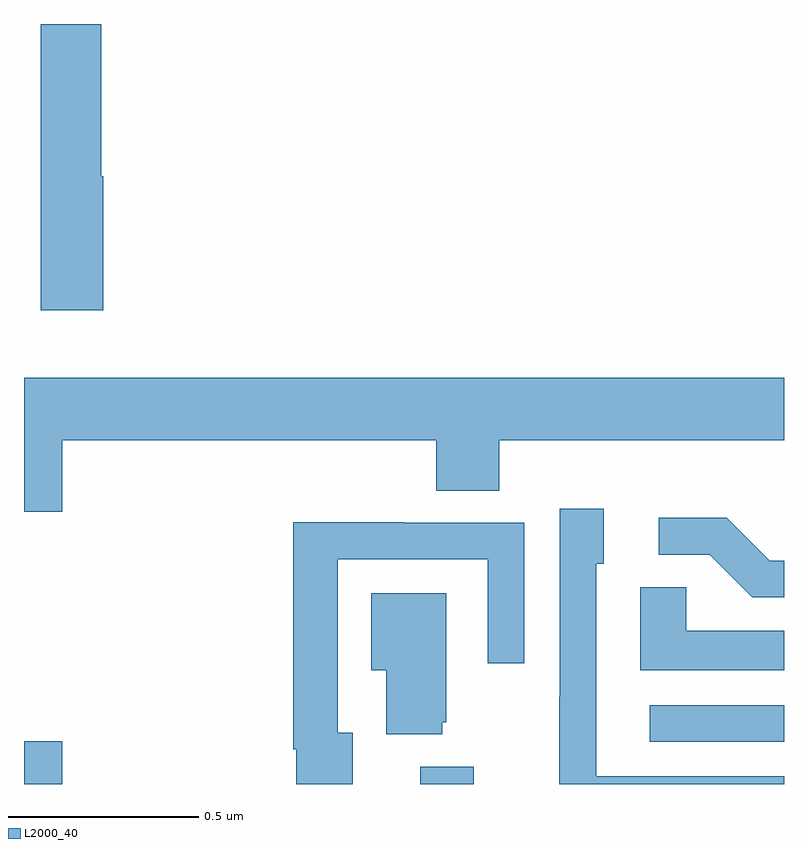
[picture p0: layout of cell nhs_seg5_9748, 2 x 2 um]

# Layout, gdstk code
import gdstk
lib = gdstk.Library(unit=1e-6, precision=1e-09)
def R(c, l, rs):  # rectangles x0, y0, x1, y1
    for r in rs: c.add(gdstk.rectangle(r[:2], r[2:], *l))
def P(c, l, *ps):  # polygons
    for p in ps: c.add(gdstk.Polygon(p, *l))
L2000_40 = (2000, 40)

nhs_seg5_9748 = lib.new_cell('nhs_seg5_9748')
R(nhs_seg5_9748, L2000_40, [(237,911.799,237.1,911.911), (238.043,911.799,238.183,911.845), (238.647,911.91,239,912.006)])
P(nhs_seg5_9748, L2000_40, [(237.208,913.398),(237.203,913.398),(237.203,913.799),(237.044,913.799),(237.044,913.046),(237.208,913.046)],
  [(237.1,912.704),(238.085,912.704),(238.085,912.571),(238.25,912.571),(238.25,912.704),(239,912.704),(239,912.868),(237,912.868),(237,912.516),(237.1,912.516)],
  [(239,911.82),(238.506,911.82),(238.506,912.378),(238.525,912.378),(238.525,912.523),(238.41,912.523),(238.41,912.029),(238.408,912.029),(238.408,911.799),(239,911.799)],
  [(239,912.387),(238.962,912.387),(238.849,912.5),(238.671,912.5),(238.671,912.402),(238.805,912.402),(238.916,912.291),(239,912.291)],
  [(237.865,911.934),(237.825,911.934),(237.825,912.39),(238.221,912.39),(238.221,912.117),(238.317,912.117),(238.317,912.486),(238.001,912.486),(238.001,912.488),(237.709,912.488),(237.709,911.89),(237.717,911.89),(237.717,911.799),(237.865,911.799)],
  [(239,912.202),(238.743,912.202),(238.743,912.317),(238.622,912.317),(238.622,912.098),(239,912.098)],
  [(238.1,911.961),(238.111,911.961),(238.111,912.301),(237.914,912.301),(237.914,912.098),(237.953,912.098),(237.953,911.93),(238.1,911.93)])

lib.write_gds('nhs_seg5_9748.gds')
